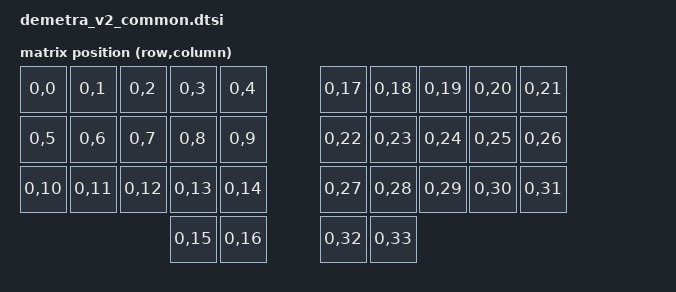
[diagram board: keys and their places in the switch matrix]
#include <nordic/nrf52840_qiaa.dtsi>
#include <dt-bindings/zmk/matrix_transform.h>

/ {
    chosen {
        zmk,kscan = &kscan0;
        zmk,matrix_transform = &default_transform;
        
        /* Puntatori obbligatori per il Linker */
        zephyr,code-partition = &code_partition;
        zephyr,sram = &sram0;
        zephyr,flash = &flash0;
    };

    default_transform: keymap_transform_0 {
        compatible = "zmk,matrix-transform";
        columns = <34>;
        rows = <1>;
        map = <
            RC(0,0)  RC(0,1)  RC(0,2)  RC(0,3)  RC(0,4)     RC(0,17) RC(0,18) RC(0,19) RC(0,20) RC(0,21)
            RC(0,5)  RC(0,6)  RC(0,7)  RC(0,8)  RC(0,9)     RC(0,22) RC(0,23) RC(0,24) RC(0,25) RC(0,26)
            RC(0,10) RC(0,11) RC(0,12) RC(0,13) RC(0,14)    RC(0,27) RC(0,28) RC(0,29) RC(0,30) RC(0,31)
                                      RC(0,15) RC(0,16)     RC(0,32) RC(0,33)
        >;
    };
};

/* ---------------------------------------------------------
   HARDWARE OVERRIDES: TASSATIVAMENTE FUORI DAL BLOCCO ROOT
   --------------------------------------------------------- */

&gpio0 { status = "okay"; };
&gpio1 { status = "okay"; };

/* GPIOTE: necessario per gli interrupt GPIO usati dal keyscan */
&gpiote { status = "okay"; };

/* Abilita il controller USB device del nRF52840 (necessario per HID via USB) */
zephyr_udc0: &usbd {
    status = "okay";
};

/* Mappa fisica della memoria per nRF52840 */
&flash0 {
    partitions {
        compatible = "fixed-partitions";
        #address-cells = <1>;
        #size-cells = <1>;

        sd_partition: partition@0 {
            label = "softdevice";
            reg = <0x00000000 0x00026000>;
        };
        code_partition: partition@26000 {
            label = "code_partition";
            reg = <0x00026000 0x000c6000>; 
        };
        storage_partition: partition@ec000 {
            label = "storage";
            reg = <0x000ec000 0x00008000>;
        };
        boot_partition: partition@f4000 {
            label = "adafruit_boot";
            reg = <0x000f4000 0x0000c000>;
        };
    };
};
